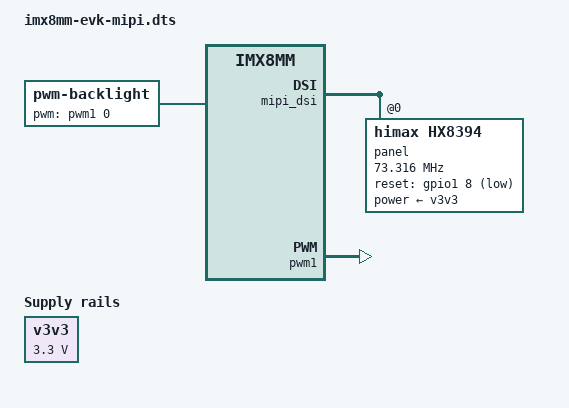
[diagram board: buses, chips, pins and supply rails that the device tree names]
#include "imx8mm-evk.dts"

/ {
	v3v3: regulator-3p3v {
		compatible = "regulator-fixed";
		regulator-name = "v3v3";
		regulator-min-microvolt = <3300000>;
		regulator-max-microvolt = <3300000>;
		regulator-always-on;
		regulator-boot-on;
	};

	backlight{
	    compatible = "pwm-backlight";
	    pwms = <&pwm1 0 100000>;
	    status = "okay";

	    brightness-levels = < 0  1  2  3  4  5  6  7  8  9
				 10 11 12 13 14 15 16 17 18 19
				 20 21 22 23 24 25 26 27 28 29
				 30 31 32 33 34 35 36 37 38 39
				 40 41 42 43 44 45 46 47 48 49
				 50 51 52 53 54 55 56 57 58 59
				 60 61 62 63 64 65 66 67 68 69
				 70 71 72 73 74 75 76 77 78 79
				 80 81 82 83 84 85 86 87 88 89
				 90 91 92 93 94 95 96 97 98 99
				100>;
	    default-brightness-level = <80>;
	};
};


&adv_bridge {
	status = "disabled";
};


&mipi_dsi {
	panel: panel@0 {
		compatible = "himax,hx8394";
		reg = <0>;
		reset-gpios = <&gpio1 8 GPIO_ACTIVE_LOW>;
		power-supply = <&v3v3>;

		clock-frequency = <73315500>;
		hactive = <720>;
		vactive = <1280>;
		hfront-porch = <95>;
		hback-porch = <55>;
		hsync-len = <55>;
		vback-porch = <24>;
		vfront-porch = <8>;
		vsync-len = <9>;	
		vrefresh = <60>;
		
		status = "okay";
    };
};

&pwm1 {
    pinctrl-names = "default";
    pinctrl-0 = <&pinctrl_pwm1>;
    status = "okay";
};

&iomuxc {
    pinctrl_pwm1:pwm1grp {
    	fsl,pins = <
            MX8MM_IOMUXC_GPIO1_IO01_PWM1_OUT  0x116
    	>;
    };
};

